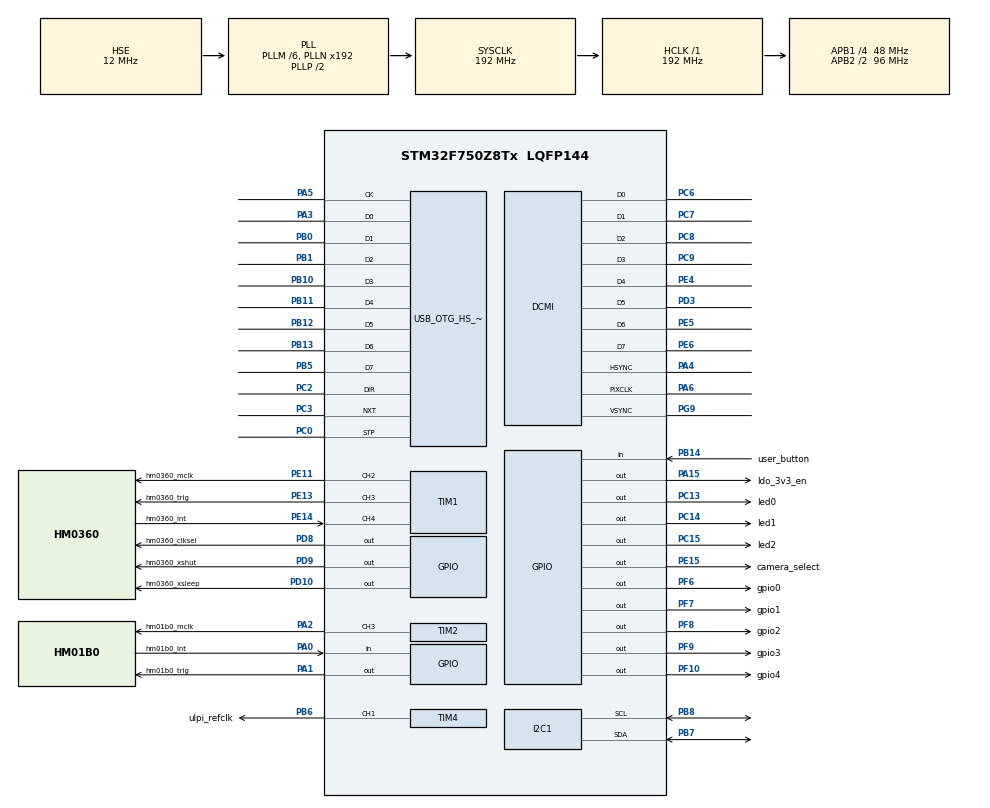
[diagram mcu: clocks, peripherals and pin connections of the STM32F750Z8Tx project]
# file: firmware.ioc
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FREERTOS.INCLUDE_vTaskDelayUntil=1
FREERTOS.MEMORY_ALLOCATION=1
FREERTOS.Tasks01=defaultTask,0,128,StartDefaultTask,Default,NULL,Static,defaultTaskBuffer,defaultTaskControlBlock
FREERTOS.configENABLE_FPU=1
FREERTOS.configUSE_COUNTING_SEMAPHORES=1
I2C1.Timing=0x20303E5D
Mcu.Family=STM32F7
Mcu.Name=STM32F750Z8Tx
Mcu.Package=LQFP144
NVIC.OTG_HS_EP1_IN_IRQn=true\:5\:0\:false\:false\:true\:true\:true\:true\:true
NVIC.OTG_HS_EP1_OUT_IRQn=true\:5\:0\:false\:false\:true\:true\:true\:true\:true
NVIC.OTG_HS_IRQn=true\:5\:0\:false\:false\:true\:true\:false\:true\:true
NVIC.PriorityGroup=NVIC_PRIORITYGROUP_4
NVIC.TIM3_IRQn=true\:15\:0\:false\:false\:true\:false\:false\:true\:true
NVIC.TimeBase=TIM3_IRQn
NVIC.TimeBaseIP=TIM3
PA0/WKUP.GPIO_Label=hm01b0_int
PA0/WKUP.GPIO_PuPd=GPIO_PULLDOWN
PA0/WKUP.Signal=GPIO_Input
PA1.GPIO_Label=hm01b0_trig
PA1.Signal=GPIO_Output
PA13.Mode=Serial_Wire
PA13.Signal=SYS_JTMS-SWDIO
PA14.Mode=Serial_Wire
PA14.Signal=SYS_JTCK-SWCLK
PA15.GPIO_Label=ldo_3v3_en
PA15.Signal=GPIO_Output
PA2.GPIO_Label=hm01b0_mclk
PA2.GPIO_Speed=GPIO_SPEED_FREQ_HIGH
PA2.Signal=S_TIM2_CH3
PA3.Mode=Device_HS
PA3.Signal=USB_OTG_HS_ULPI_D0
PA4.Mode=Slave_8_bits_External_Synchro
PA4.Signal=DCMI_HSYNC
PA5.Mode=Device_HS
PA5.Signal=USB_OTG_HS_ULPI_CK
PA6.Mode=Slave_8_bits_External_Synchro
PA6.Signal=DCMI_PIXCLK
PB0.Mode=Device_HS
PB0.Signal=USB_OTG_HS_ULPI_D1
PB1.Mode=Device_HS
PB1.Signal=USB_OTG_HS_ULPI_D2
PB10.Mode=Device_HS
PB10.Signal=USB_OTG_HS_ULPI_D3
PB11.Mode=Device_HS
PB11.Signal=USB_OTG_HS_ULPI_D4
PB12.Mode=Device_HS
PB12.Signal=USB_OTG_HS_ULPI_D5
PB13.Mode=Device_HS
PB13.Signal=USB_OTG_HS_ULPI_D6
PB14.GPIO_Label=user_button
PB14.GPIO_PuPd=GPIO_PULLUP
PB14.Signal=GPIO_Input
PB3.Signal=SYS_JTDO-SWO
PB5.Mode=Device_HS
PB5.Signal=USB_OTG_HS_ULPI_D7
PB6.GPIO_Label=ulpi_refclk
PB6.GPIO_Speed=GPIO_SPEED_FREQ_HIGH
PB6.Signal=S_TIM4_CH1
PB7.Mode=I2C
PB7.Signal=I2C1_SDA
PB8.Mode=I2C
PB8.Signal=I2C1_SCL
PC0.Mode=Device_HS
PC0.Signal=USB_OTG_HS_ULPI_STP
PC13.GPIO_Label=led0
PC13.Signal=GPIO_Output
PC14/OSC32_IN.GPIO_Label=led1
PC14/OSC32_IN.Signal=GPIO_Output
PC15/OSC32_OUT.GPIO_Label=led2
PC15/OSC32_OUT.Signal=GPIO_Output
PC2.Mode=Device_HS
PC2.Signal=USB_OTG_HS_ULPI_DIR
PC3.Mode=Device_HS
PC3.Signal=USB_OTG_HS_ULPI_NXT
PC6.Mode=Slave_8_bits_External_Synchro
PC6.Signal=DCMI_D0
PC7.Mode=Slave_8_bits_External_Synchro
PC7.Signal=DCMI_D1
PC8.Mode=Slave_8_bits_External_Synchro
PC8.Signal=DCMI_D2
PC9.Mode=Slave_8_bits_External_Synchro
PC9.Signal=DCMI_D3
PD10.GPIO_Label=hm0360_xsleep
PD10.Signal=GPIO_Output
PD3.Mode=Slave_8_bits_External_Synchro
PD3.Signal=DCMI_D5
PD8.GPIO_Label=hm0360_clksel
PD8.Signal=GPIO_Output
PD9.GPIO_Label=hm0360_xshut
PD9.Signal=GPIO_Output
PE11.GPIO_Label=hm0360_mclk
PE11.GPIO_Speed=GPIO_SPEED_FREQ_HIGH
PE11.Signal=S_TIM1_CH2
PE13.GPIO_Label=hm0360_trig
PE13.Signal=S_TIM1_CH3
PE14.GPIO_Label=hm0360_int
PE14.Signal=S_TIM1_CH4
PE15.GPIO_Label=camera_select
PE15.Signal=GPIO_Output
PE4.Mode=Slave_8_bits_External_Synchro
PE4.Signal=DCMI_D4
PE5.Mode=Slave_8_bits_External_Synchro
PE5.Signal=DCMI_D6
PE6.Mode=Slave_8_bits_External_Synchro
PE6.Signal=DCMI_D7
PF10.GPIO_Label=gpio4
PF10.Signal=GPIO_Output
PF6.GPIO_Label=gpio0
PF6.Signal=GPIO_Output
PF7.GPIO_Label=gpio1
PF7.Signal=GPIO_Output
PF8.GPIO_Label=gpio2
PF8.Signal=GPIO_Output
PF9.GPIO_Label=gpio3
PF9.Signal=GPIO_Output
PG9.Mode=Slave_8_bits_External_Synchro
PG9.Signal=DCMI_VSYNC
PH0/OSC_IN.Mode=HSE-External-Oscillator
PH0/OSC_IN.Signal=RCC_OSC_IN
PH1/OSC_OUT.Mode=HSE-External-Oscillator
PH1/OSC_OUT.Signal=RCC_OSC_OUT
ProjectManager.HeapSize=0x200
ProjectManager.StackSize=0x400
ProjectManager.TargetToolchain=Makefile
RCC.AHBFreq_Value=192000000
RCC.APB1CLKDivider=RCC_HCLK_DIV4
RCC.APB1Freq_Value=48000000
RCC.APB1TimFreq_Value=96000000
RCC.APB2CLKDivider=RCC_HCLK_DIV2
RCC.APB2Freq_Value=96000000
RCC.APB2TimFreq_Value=192000000
RCC.CortexFreq_Value=192000000
RCC.HCLKFreq_Value=192000000
RCC.HSE_VALUE=12000000
RCC.HSI_VALUE=16000000
RCC.LSE_VALUE=32768
RCC.PLLM=6
RCC.PLLQ=3
RCC.PLLSAIN=50
RCC.PLLSourceVirtual=RCC_PLLSOURCE_HSE
RCC.SYSCLKFreq_VALUE=192000000
RCC.SYSCLKSource=RCC_SYSCLKSOURCE_PLLCLK
RCC.USBFreq_Value=128000000
RCC.VCOOutputFreq_Value=384000000
SH.S_TIM1_CH2.0=TIM1_CH2,Output Compare2 CH2
SH.S_TIM1_CH3.0=TIM1_CH3,Output Compare3 CH3
SH.S_TIM1_CH4.0=TIM1_CH4,Input_Capture4_from_TI4
SH.S_TIM2_CH3.0=TIM2_CH3,PWM Generation3 CH3
SH.S_TIM4_CH1.0=TIM4_CH1,PWM Generation1 CH1
TIM1.Channel-Input_Capture4_from_TI4=TIM_CHANNEL_4
TIM1.Channel-Output\ Compare2\ CH2=TIM_CHANNEL_2
TIM1.Channel-Output\ Compare3\ CH3=TIM_CHANNEL_3
TIM2.Channel-PWM\ Generation3\ CH3=TIM_CHANNEL_3
TIM4.Channel-PWM\ Generation1\ CH1=TIM_CHANNEL_1
TIM4.OCFastMode_PWM-PWM\ Generation1\ CH1=TIM_OCFAST_ENABLE
TIM4.Period=4
TIM4.Pulse-PWM\ Generation1\ CH1=2
USB_DEVICE.CLASS_NAME_HS=CDC
USB_DEVICE.USBD_SELF_POWERED-CDC_HS=0
USB_DEVICE.VirtualMode-CDC_HS=Cdc
USB_DEVICE.VirtualModeHS=Cdc_HS
USB_OTG_HS.VirtualMode-Device_HS=Device_HS
USB_OTG_HS.dma_enable-Device_HS=DISABLE
VP_FREERTOS_VS_CMSIS_V1.Mode=CMSIS_V1
VP_SYS_VS_tim3.Mode=TIM3
VP_TIM1_VS_ClockSourceINT.Mode=Internal
VP_TIM4_VS_ClockSourceINT.Mode=Internal
VP_USB_DEVICE_VS_USB_DEVICE_CDC_HS.Mode=CDC_HS
board=custom

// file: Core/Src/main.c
/* USER CODE BEGIN Header */
/**
  ******************************************************************************
  * @file           : main.c
  * @brief          : Main program body
  ******************************************************************************
  * @attention
  *
  * Copyright (c) 2024 STMicroelectronics.
  * All rights reserved.
  *
  * This software is licensed under terms that can be found in the LICENSE file
  * in the root directory of this software component.
  * If no LICENSE file comes with this software, it is provided AS-IS.
  *
  ******************************************************************************
  */
/* USER CODE END Header */
#include "main.h"
#include "cmsis_os.h"
#include "usb_device.h"

/* USER CODE BEGIN Includes */
#include "system_task.h"
#include "camera_read_task.h"
#include "camera_management_task.h"
#include "usb_task.h"
/* USER CODE END Includes */

DCMI_HandleTypeDef hdcmi;

I2C_HandleTypeDef hi2c1;

TIM_HandleTypeDef htim1;
TIM_HandleTypeDef htim2;
TIM_HandleTypeDef htim4;

osThreadId defaultTaskHandle;
uint32_t defaultTaskBuffer[ 128 ];
osStaticThreadDef_t defaultTaskControlBlock;
/* USER CODE BEGIN PV */

#define SYSTEM_TASK_BUFSZ 512
osThreadId systemTaskHandle;
uint32_t systemTaskBuffer[ SYSTEM_TASK_BUFSZ ];
osStaticThreadDef_t systemTaskControlBlock;

#define CAMERA_READ_TASK_BUFSZ 512
osThreadId cameraTaskHandle;
uint32_t cameraTaskBuffer[ CAMERA_READ_TASK_BUFSZ ];
osStaticThreadDef_t cameraTaskControlBlock;

#define CAMERA_MANAGEMENT_TASK_BUFSZ 512
osThreadId cameraManagementTaskHandle;
uint32_t cameraManagementTaskBuffer[ CAMERA_MANAGEMENT_TASK_BUFSZ ];
osStaticThreadDef_t cameraManagementTaskControlBlock;

#define USB_TASK_BUFSZ 512
osThreadId usbTaskHandle;
uint32_t usbTaskBuffer[ USB_TASK_BUFSZ ];
osStaticThreadDef_t usbTaskControlBlock;

#define USB_REQUEST_QUEUE_ITEM_SIZE (sizeof(usb_write_request_t))
#define USB_REQUEST_QUEUE_LENGTH 4
QueueHandle_t usb_request_queue = NULL;
StaticQueue_t usb_request_queue_static;
uint8_t usb_request_queue_storage_area[USB_REQUEST_QUEUE_ITEM_SIZE * USB_REQUEST_QUEUE_LENGTH];

#define USB_CDC_RX_QUEUE_ITEM_SIZE (sizeof(uint8_t))
#define USB_CDC_RX_QUEUE_LENGTH 1024
QueueHandle_t usb_cdc_rx_queue = NULL;
StaticQueue_t usb_cdc_rx_queue_static;
uint8_t usb_cdc_rx_queue_storage_area[USB_CDC_RX_QUEUE_ITEM_SIZE * USB_CDC_RX_QUEUE_LENGTH];

#define CAMERA_READ_TASK_CONFIG_QUEUE_ITEM_SIZE (sizeof(camera_read_config_t))
#define CAMERA_READ_TASK_CONFIG_QUEUE_LENGTH 8
QueueHandle_t camera_read_task_config_queue = NULL;
StaticQueue_t camera_read_task_config_queue_static;
uint8_t camera_read_task_config_queue_storage_area[
    CAMERA_READ_TASK_CONFIG_QUEUE_ITEM_SIZE * CAMERA_READ_TASK_CONFIG_QUEUE_LENGTH];

#define CAMERA_MANAGEMENT_TASK_REQUEST_QUEUE_ITEM_SIZE (sizeof(camera_management_request_t))
#define CAMERA_MANAGEMENT_TASK_REQUEST_QUEUE_LENGTH 32
QueueHandle_t camera_management_task_request_queue = NULL;
StaticQueue_t camera_management_task_request_queue_static;
uint8_t camera_management_task_request_queue_storage_area[
    CAMERA_MANAGEMENT_TASK_REQUEST_QUEUE_ITEM_SIZE * CAMERA_MANAGEMENT_TASK_REQUEST_QUEUE_LENGTH];

#define UART7_QUEUE_ITEM_SIZE sizeof(char)
#define UART7_QUEUE_LENGTH 512
QueueHandle_t uart7_queue = NULL;
StaticQueue_t uart7_queue_static;
uint8_t uart7_queue_storage_area[UART7_QUEUE_LENGTH];

/* USER CODE END PV */

void SystemClock_Config(void);
static void MX_GPIO_Init(void);
static void MX_DCMI_Init(void);
static void MX_I2C1_Init(void);
static void MX_TIM2_Init(void);
static void MX_TIM4_Init(void);
static void MX_TIM1_Init(void);
void StartDefaultTask(void const * argument);

int main(void)
{

  /* MCU Configuration--------------------------------------------------------*/

  /* Reset of all peripherals, Initializes the Flash interface and the Systick. */
  HAL_Init();

  /* Configure the system clock */
  SystemClock_Config();

  /* Initialize all configured peripherals */
  MX_GPIO_Init();
  MX_DCMI_Init();
  MX_I2C1_Init();
  MX_TIM2_Init();
  MX_TIM4_Init();
  MX_TIM1_Init();
  /* USER CODE BEGIN 2 */

  // enable 3v3 for ULPI transciever
  HAL_GPIO_WritePin(ldo_3v3_en_GPIO_Port, ldo_3v3_en_Pin, GPIO_PIN_SET);

  // Start ULPI refclk which is on TIM4 CH1, which is on APB1 and therefore has a frequency of
  // 96MHz.
  // REFSEL bits for ULPI refclk specify a 19.2MHz oscillator; we have a 192MHz sysclk, so we
  // can derive this from 96MHz. The USB3320C can tolerate a duty cycle of 20 - 80 % on its clock,
  // so it's ok to use TIM4 to divide 96MHz by 5, yielding a duty cycle of 40 or 60%.
  TIM4->CCER = 1;
  TIM4->CR1 |= (1 << 0);

  // should wait for a little bit after the timer is initialized to let the USB startup
  HAL_Delay(5);

  UART7_Init();

  /* USER CODE END 2 */

  /* USER CODE BEGIN RTOS_QUEUES */
  usb_request_queue = xQueueCreateStatic(USB_REQUEST_QUEUE_LENGTH,
                                         USB_REQUEST_QUEUE_ITEM_SIZE,
                                         usb_request_queue_storage_area,
                                         &usb_request_queue_static);

  usb_cdc_rx_queue = xQueueCreateStatic(USB_CDC_RX_QUEUE_LENGTH,
                                         USB_CDC_RX_QUEUE_ITEM_SIZE,
                                         usb_cdc_rx_queue_storage_area,
                                         &usb_cdc_rx_queue_static);

  camera_read_task_config_queue = xQueueCreateStatic(CAMERA_READ_TASK_CONFIG_QUEUE_LENGTH,
                                                     CAMERA_READ_TASK_CONFIG_QUEUE_ITEM_SIZE,
                                                     camera_read_task_config_queue_storage_area,
                                                     &camera_read_task_config_queue_static);

  camera_management_task_request_queue = xQueueCreateStatic(CAMERA_MANAGEMENT_TASK_REQUEST_QUEUE_LENGTH,
                                                     CAMERA_MANAGEMENT_TASK_REQUEST_QUEUE_ITEM_SIZE,
                                                     camera_management_task_request_queue_storage_area,
                                                     &camera_management_task_request_queue_static);

  uart7_queue = xQueueCreateStatic(UART7_QUEUE_LENGTH,
                                         UART7_QUEUE_ITEM_SIZE,
                                         uart7_queue_storage_area,
                                         &uart7_queue_static);

#if 0
  /* USER CODE END RTOS_QUEUES */

  /* Create the thread(s) */
  /* definition and creation of defaultTask */
  osThreadStaticDef(defaultTask, StartDefaultTask, osPriorityNormal, 0, 128, defaultTaskBuffer, &defaultTaskControlBlock);
  defaultTaskHandle = osThreadCreate(osThread(defaultTask), NULL);

  /* USER CODE BEGIN RTOS_THREADS */
#endif
#if 1
  osThreadStaticDef(systemTask,
                    system_task,
                    osPriorityNormal,
                    0,
                    SYSTEM_TASK_BUFSZ,
                    systemTaskBuffer,
                    &systemTaskControlBlock);
  systemTaskHandle = osThreadCreate(osThread(systemTask), NULL);
#endif
#if 1
  osThreadStaticDef(cameraTask,
                    camera_read_task,
                    osPriorityNormal,
                    0,
                    CAMERA_READ_TASK_BUFSZ,
                    cameraTaskBuffer,
                    &cameraTaskControlBlock);
  cameraTaskHandle = osThreadCreate(osThread(cameraTask), NULL);

  osThreadStaticDef(cameraManagementTask,
                    camera_management_task,
                    osPriorityNormal,
                    0,
                    CAMERA_MANAGEMENT_TASK_BUFSZ,
                    cameraManagementTaskBuffer,
                    &cameraManagementTaskControlBlock);
  cameraManagementTaskHandle = osThreadCreate(osThread(cameraManagementTask), NULL);
#endif

#if 1
  osThreadStaticDef(usbTask,
                    usb_task,
                    osPriorityNormal,
                    0,
                    USB_TASK_BUFSZ,
                    usbTaskBuffer,
                    &usbTaskControlBlock);
  usbTaskHandle = osThreadCreate(osThread(usbTask), NULL);
#endif

  /* USER CODE END RTOS_THREADS */

  /* Start scheduler */
  osKernelStart();
  /* We should never get here as control is now taken by the scheduler */
  /* Infinite loop */
  while (1)
  {

  }
}

void SystemClock_Config(void)
{
  RCC_OscInitTypeDef RCC_OscInitStruct = {0};
  RCC_ClkInitTypeDef RCC_ClkInitStruct = {0};

  /** Configure the main internal regulator output voltage
  */
  __HAL_RCC_PWR_CLK_ENABLE();
  __HAL_PWR_VOLTAGESCALING_CONFIG(PWR_REGULATOR_VOLTAGE_SCALE1);

  /** Initializes the RCC Oscillators according to the specified parameters
  * in the RCC_OscInitTypeDef structure.
  */
  RCC_OscInitStruct.OscillatorType = RCC_OSCILLATORTYPE_HSE;
  RCC_OscInitStruct.HSEState = RCC_HSE_ON;
  RCC_OscInitStruct.PLL.PLLState = RCC_PLL_ON;
  RCC_OscInitStruct.PLL.PLLSource = RCC_PLLSOURCE_HSE;
  RCC_OscInitStruct.PLL.PLLM = 6;
  RCC_OscInitStruct.PLL.PLLN = 192;
  RCC_OscInitStruct.PLL.PLLP = RCC_PLLP_DIV2;
  RCC_OscInitStruct.PLL.PLLQ = 3;
  if (HAL_RCC_OscConfig(&RCC_OscInitStruct) != HAL_OK)
  {
    Error_Handler();
  }

  /** Activate the Over-Drive mode
  */
  if (HAL_PWREx_EnableOverDrive() != HAL_OK)
  {
    Error_Handler();
  }

  /** Initializes the CPU, AHB and APB buses clocks
  */
  RCC_ClkInitStruct.ClockType = RCC_CLOCKTYPE_HCLK|RCC_CLOCKTYPE_SYSCLK
                              |RCC_CLOCKTYPE_PCLK1|RCC_CLOCKTYPE_PCLK2;
  RCC_ClkInitStruct.SYSCLKSource = RCC_SYSCLKSOURCE_PLLCLK;
  RCC_ClkInitStruct.AHBCLKDivider = RCC_SYSCLK_DIV1;
  RCC_ClkInitStruct.APB1CLKDivider = RCC_HCLK_DIV4;
  RCC_ClkInitStruct.APB2CLKDivider = RCC_HCLK_DIV2;

  if (HAL_RCC_ClockConfig(&RCC_ClkInitStruct, FLASH_LATENCY_6) != HAL_OK)
  {
    Error_Handler();
  }
}

static void MX_DCMI_Init(void)
{

  hdcmi.Instance = DCMI;
  hdcmi.Init.SynchroMode = DCMI_SYNCHRO_HARDWARE;
  hdcmi.Init.PCKPolarity = DCMI_PCKPOLARITY_FALLING;
  hdcmi.Init.VSPolarity = DCMI_VSPOLARITY_LOW;
  hdcmi.Init.HSPolarity = DCMI_HSPOLARITY_LOW;
  hdcmi.Init.CaptureRate = DCMI_CR_ALL_FRAME;
  hdcmi.Init.ExtendedDataMode = DCMI_EXTEND_DATA_8B;
  hdcmi.Init.JPEGMode = DCMI_JPEG_DISABLE;
  hdcmi.Init.ByteSelectMode = DCMI_BSM_ALL;
  hdcmi.Init.ByteSelectStart = DCMI_OEBS_ODD;
  hdcmi.Init.LineSelectMode = DCMI_LSM_ALL;
  hdcmi.Init.LineSelectStart = DCMI_OELS_ODD;
  if (HAL_DCMI_Init(&hdcmi) != HAL_OK)
  {
    Error_Handler();
  }

}

static void MX_I2C1_Init(void)
{

  hi2c1.Instance = I2C1;
  hi2c1.Init.Timing = 0x20303E5D;
  hi2c1.Init.OwnAddress1 = 0;
  hi2c1.Init.AddressingMode = I2C_ADDRESSINGMODE_7BIT;
  hi2c1.Init.DualAddressMode = I2C_DUALADDRESS_DISABLE;
  hi2c1.Init.OwnAddress2 = 0;
  hi2c1.Init.OwnAddress2Masks = I2C_OA2_NOMASK;
  hi2c1.Init.GeneralCallMode = I2C_GENERALCALL_DISABLE;
  hi2c1.Init.NoStretchMode = I2C_NOSTRETCH_DISABLE;
  if (HAL_I2C_Init(&hi2c1) != HAL_OK)
  {
    Error_Handler();
  }

  /** Configure Analogue filter
  */
  if (HAL_I2CEx_ConfigAnalogFilter(&hi2c1, I2C_ANALOGFILTER_ENABLE) != HAL_OK)
  {
    Error_Handler();
  }

  /** Configure Digital filter
  */
  if (HAL_I2CEx_ConfigDigitalFilter(&hi2c1, 0) != HAL_OK)
  {
    Error_Handler();
  }

}

static void MX_TIM1_Init(void)
{

  TIM_ClockConfigTypeDef sClockSourceConfig = {0};
  TIM_MasterConfigTypeDef sMasterConfig = {0};
  TIM_OC_InitTypeDef sConfigOC = {0};
  TIM_IC_InitTypeDef sConfigIC = {0};
  TIM_BreakDeadTimeConfigTypeDef sBreakDeadTimeConfig = {0};

  htim1.Instance = TIM1;
  htim1.Init.Prescaler = 0;
  htim1.Init.CounterMode = TIM_COUNTERMODE_UP;
  htim1.Init.Period = 65535;
  htim1.Init.ClockDivision = TIM_CLOCKDIVISION_DIV1;
  htim1.Init.RepetitionCounter = 0;
  htim1.Init.AutoReloadPreload = TIM_AUTORELOAD_PRELOAD_DISABLE;
  if (HAL_TIM_Base_Init(&htim1) != HAL_OK)
  {
    Error_Handler();
  }
  sClockSourceConfig.ClockSource = TIM_CLOCKSOURCE_INTERNAL;
  if (HAL_TIM_ConfigClockSource(&htim1, &sClockSourceConfig) != HAL_OK)
  {
    Error_Handler();
  }
  if (HAL_TIM_OC_Init(&htim1) != HAL_OK)
  {
    Error_Handler();
  }
  if (HAL_TIM_IC_Init(&htim1) != HAL_OK)
  {
    Error_Handler();
  }
  sMasterConfig.MasterOutputTrigger = TIM_TRGO_RESET;
  sMasterConfig.MasterOutputTrigger2 = TIM_TRGO2_RESET;
  sMasterConfig.MasterSlaveMode = TIM_MASTERSLAVEMODE_DISABLE;
  if (HAL_TIMEx_MasterConfigSynchronization(&htim1, &sMasterConfig) != HAL_OK)
  {
    Error_Handler();
  }
  sConfigOC.OCMode = TIM_OCMODE_TIMING;
  sConfigOC.Pulse = 0;
  sConfigOC.OCPolarity = TIM_OCPOLARITY_HIGH;
  sConfigOC.OCNPolarity = TIM_OCNPOLARITY_HIGH;
  sConfigOC.OCFastMode = TIM_OCFAST_DISABLE;
  sConfigOC.OCIdleState = TIM_OCIDLESTATE_RESET;
  sConfigOC.OCNIdleState = TIM_OCNIDLESTATE_RESET;
  if (HAL_TIM_OC_ConfigChannel(&htim1, &sConfigOC, TIM_CHANNEL_2) != HAL_OK)
  {
    Error_Handler();
  }
  if (HAL_TIM_OC_ConfigChannel(&htim1, &sConfigOC, TIM_CHANNEL_3) != HAL_OK)
  {
    Error_Handler();
  }
  sConfigIC.ICPolarity = TIM_INPUTCHANNELPOLARITY_RISING;
  sConfigIC.ICSelection = TIM_ICSELECTION_DIRECTTI;
  sConfigIC.ICPrescaler = TIM_ICPSC_DIV1;
  sConfigIC.ICFilter = 0;
  if (HAL_TIM_IC_ConfigChannel(&htim1, &sConfigIC, TIM_CHANNEL_4) != HAL_OK)
  {
    Error_Handler();
  }
  sBreakDeadTimeConfig.OffStateRunMode = TIM_OSSR_DISABLE;
  sBreakDeadTimeConfig.OffStateIDLEMode = TIM_OSSI_DISABLE;
  sBreakDeadTimeConfig.LockLevel = TIM_LOCKLEVEL_OFF;
  sBreakDeadTimeConfig.DeadTime = 0;
  sBreakDeadTimeConfig.BreakState = TIM_BREAK_DISABLE;
  sBreakDeadTimeConfig.BreakPolarity = TIM_BREAKPOLARITY_HIGH;
  sBreakDeadTimeConfig.BreakFilter = 0;
  sBreakDeadTimeConfig.Break2State = TIM_BREAK2_DISABLE;
  sBreakDeadTimeConfig.Break2Polarity = TIM_BREAK2POLARITY_HIGH;
  sBreakDeadTimeConfig.Break2Filter = 0;
  sBreakDeadTimeConfig.AutomaticOutput = TIM_AUTOMATICOUTPUT_DISABLE;
  if (HAL_TIMEx_ConfigBreakDeadTime(&htim1, &sBreakDeadTimeConfig) != HAL_OK)
  {
    Error_Handler();
  }
  HAL_TIM_MspPostInit(&htim1);

}

static void MX_TIM2_Init(void)
{

  TIM_MasterConfigTypeDef sMasterConfig = {0};
  TIM_OC_InitTypeDef sConfigOC = {0};

  htim2.Instance = TIM2;
  htim2.Init.Prescaler = 0;
  htim2.Init.CounterMode = TIM_COUNTERMODE_UP;
  htim2.Init.Period = 7;
  htim2.Init.ClockDivision = TIM_CLOCKDIVISION_DIV1;
  htim2.Init.AutoReloadPreload = TIM_AUTORELOAD_PRELOAD_DISABLE;
  if (HAL_TIM_PWM_Init(&htim2) != HAL_OK)
  {
    Error_Handler();
  }
  sMasterConfig.MasterOutputTrigger = TIM_TRGO_RESET;
  sMasterConfig.MasterSlaveMode = TIM_MASTERSLAVEMODE_DISABLE;
  if (HAL_TIMEx_MasterConfigSynchronization(&htim2, &sMasterConfig) != HAL_OK)
  {
    Error_Handler();
  }
  sConfigOC.OCMode = TIM_OCMODE_PWM1;
  sConfigOC.Pulse = 4;
  sConfigOC.OCPolarity = TIM_OCPOLARITY_HIGH;
  sConfigOC.OCFastMode = TIM_OCFAST_DISABLE;
  if (HAL_TIM_PWM_ConfigChannel(&htim2, &sConfigOC, TIM_CHANNEL_3) != HAL_OK)
  {
    Error_Handler();
  }
  HAL_TIM_MspPostInit(&htim2);

}

static void MX_TIM4_Init(void)
{

  TIM_ClockConfigTypeDef sClockSourceConfig = {0};
  TIM_MasterConfigTypeDef sMasterConfig = {0};
  TIM_OC_InitTypeDef sConfigOC = {0};

  htim4.Instance = TIM4;
  htim4.Init.Prescaler = 0;
  htim4.Init.CounterMode = TIM_COUNTERMODE_UP;
  htim4.Init.Period = 4;
  htim4.Init.ClockDivision = TIM_CLOCKDIVISION_DIV1;
  htim4.Init.AutoReloadPreload = TIM_AUTORELOAD_PRELOAD_DISABLE;
  if (HAL_TIM_Base_Init(&htim4) != HAL_OK)
  {
    Error_Handler();
  }
  sClockSourceConfig.ClockSource = TIM_CLOCKSOURCE_INTERNAL;
  if (HAL_TIM_ConfigClockSource(&htim4, &sClockSourceConfig) != HAL_OK)
  {
    Error_Handler();
  }
  if (HAL_TIM_PWM_Init(&htim4) != HAL_OK)
  {
    Error_Handler();
  }
  sMasterConfig.MasterOutputTrigger = TIM_TRGO_RESET;
  sMasterConfig.MasterSlaveMode = TIM_MASTERSLAVEMODE_DISABLE;
  if (HAL_TIMEx_MasterConfigSynchronization(&htim4, &sMasterConfig) != HAL_OK)
  {
    Error_Handler();
  }
  sConfigOC.OCMode = TIM_OCMODE_PWM1;
  sConfigOC.Pulse = 2;
  sConfigOC.OCPolarity = TIM_OCPOLARITY_HIGH;
  sConfigOC.OCFastMode = TIM_OCFAST_ENABLE;
  if (HAL_TIM_PWM_ConfigChannel(&htim4, &sConfigOC, TIM_CHANNEL_1) != HAL_OK)
  {
    Error_Handler();
  }
  HAL_TIM_MspPostInit(&htim4);

}

static void MX_GPIO_Init(void)
{
  GPIO_InitTypeDef GPIO_InitStruct = {0};

  /* GPIO Ports Clock Enable */
  __HAL_RCC_GPIOE_CLK_ENABLE();
  __HAL_RCC_GPIOC_CLK_ENABLE();
  __HAL_RCC_GPIOF_CLK_ENABLE();
  __HAL_RCC_GPIOH_CLK_ENABLE();
  __HAL_RCC_GPIOA_CLK_ENABLE();
  __HAL_RCC_GPIOB_CLK_ENABLE();
  __HAL_RCC_GPIOD_CLK_ENABLE();
  __HAL_RCC_GPIOG_CLK_ENABLE();

  /*Configure GPIO pin Output Level */
  HAL_GPIO_WritePin(GPIOC, led0_Pin|led1_Pin|led2_Pin, GPIO_PIN_RESET);

  /*Configure GPIO pin Output Level */
  HAL_GPIO_WritePin(GPIOF, gpio0_Pin|gpio1_Pin|gpio2_Pin|gpio3_Pin
                          |gpio4_Pin, GPIO_PIN_RESET);

  /*Configure GPIO pin Output Level */
  HAL_GPIO_WritePin(GPIOA, hm01b0_trig_Pin|ldo_3v3_en_Pin, GPIO_PIN_RESET);

  /*Configure GPIO pin Output Level */
  HAL_GPIO_WritePin(camera_select_GPIO_Port, camera_select_Pin, GPIO_PIN_RESET);

  /*Configure GPIO pin Output Level */
  HAL_GPIO_WritePin(GPIOD, hm0360_clksel_Pin|hm0360_xshut_Pin|hm0360_xsleep_Pin, GPIO_PIN_RESET);

  /*Configure GPIO pins : led0_Pin led1_Pin led2_Pin */
  GPIO_InitStruct.Pin = led0_Pin|led1_Pin|led2_Pin;
  GPIO_InitStruct.Mode = GPIO_MODE_OUTPUT_PP;
  GPIO_InitStruct.Pull = GPIO_NOPULL;
  GPIO_InitStruct.Speed = GPIO_SPEED_FREQ_LOW;
  HAL_GPIO_Init(GPIOC, &GPIO_InitStruct);

  /*Configure GPIO pins : gpio0_Pin gpio1_Pin gpio2_Pin gpio3_Pin
                           gpio4_Pin */
  GPIO_InitStruct.Pin = gpio0_Pin|gpio1_Pin|gpio2_Pin|gpio3_Pin
                          |gpio4_Pin;
  GPIO_InitStruct.Mode = GPIO_MODE_OUTPUT_PP;
  GPIO_InitStruct.Pull = GPIO_NOPULL;
  GPIO_InitStruct.Speed = GPIO_SPEED_FREQ_LOW;
  HAL_GPIO_Init(GPIOF, &GPIO_InitStruct);

  /*Configure GPIO pin : hm01b0_int_Pin */
  GPIO_InitStruct.Pin = hm01b0_int_Pin;
  GPIO_InitStruct.Mode = GPIO_MODE_INPUT;
  GPIO_InitStruct.Pull = GPIO_PULLDOWN;
  HAL_GPIO_Init(hm01b0_int_GPIO_Port, &GPIO_InitStruct);

  /*Configure GPIO pins : hm01b0_trig_Pin ldo_3v3_en_Pin */
  GPIO_InitStruct.Pin = hm01b0_trig_Pin|ldo_3v3_en_Pin;
  GPIO_InitStruct.Mode = GPIO_MODE_OUTPUT_PP;
  GPIO_InitStruct.Pull = GPIO_NOPULL;
  GPIO_InitStruct.Speed = GPIO_SPEED_FREQ_LOW;
  HAL_GPIO_Init(GPIOA, &GPIO_InitStruct);

  /*Configure GPIO pin : camera_select_Pin */
  GPIO_InitStruct.Pin = camera_select_Pin;
  GPIO_InitStruct.Mode = GPIO_MODE_OUTPUT_PP;
  GPIO_InitStruct.Pull = GPIO_NOPULL;
  GPIO_InitStruct.Speed = GPIO_SPEED_FREQ_LOW;
  HAL_GPIO_Init(camera_select_GPIO_Port, &GPIO_InitStruct);

  /*Configure GPIO pin : user_button_Pin */
  GPIO_InitStruct.Pin = user_button_Pin;
  GPIO_InitStruct.Mode = GPIO_MODE_INPUT;
  GPIO_InitStruct.Pull = GPIO_PULLUP;
  HAL_GPIO_Init(user_button_GPIO_Port, &GPIO_InitStruct);

  /*Configure GPIO pins : hm0360_clksel_Pin hm0360_xshut_Pin hm0360_xsleep_Pin */
  GPIO_InitStruct.Pin = hm0360_clksel_Pin|hm0360_xshut_Pin|hm0360_xsleep_Pin;
  GPIO_InitStruct.Mode = GPIO_MODE_OUTPUT_PP;
  GPIO_InitStruct.Pull = GPIO_NOPULL;
  GPIO_InitStruct.Speed = GPIO_SPEED_FREQ_LOW;
  HAL_GPIO_Init(GPIOD, &GPIO_InitStruct);

}

/* USER CODE BEGIN 4 */
/**
 * put UART7_TX on PF7.
 */
void UART7_Init()
{
    __HAL_RCC_UART7_CLK_ENABLE();

    // init gpio
    GPIO_InitTypeDef GPIO_InitStruct = {0};
    GPIO_InitStruct.Pin = GPIO_PIN_7;
    GPIO_InitStruct.Mode = GPIO_MODE_AF_PP;
    GPIO_InitStruct.Pull = GPIO_NOPULL;
    GPIO_InitStruct.Speed = GPIO_SPEED_FREQ_LOW;
    GPIO_InitStruct.Alternate = GPIO_AF8_UART7;
    HAL_GPIO_Init(GPIOF, &GPIO_InitStruct);

    // init UART
    UART7->BRR = 416;
    UART7->CR1 |= (1 << 3) | (1 << 0);

    // init NVIC for uart
    HAL_NVIC_SetPriority(UART7_IRQn, 10, 0);
    HAL_NVIC_EnableIRQ(UART7_IRQn);
}

void putch(char ch)
{
    // put character on queue
    xQueueSendToBack(uart7_queue, &ch, 0);

    // TXEIE
    UART7->CR1 |= (1 << 7);
}

void putch_from_isr(char ch)
{
    // put character on queue
    xQueueSendToBackFromISR(uart7_queue, &ch, NULL);

    // TXEIE
    UART7->CR1 |= (1 << 7);
}

/* USER CODE END 4 */

void HAL_TIM_PeriodElapsedCallback(TIM_HandleTypeDef *htim)
{
  if (htim->Instance == TIM3) {
    HAL_IncTick();
  }
}

void Error_Handler(void)
{
  __disable_irq();
  while (1)
  {
  }
}
